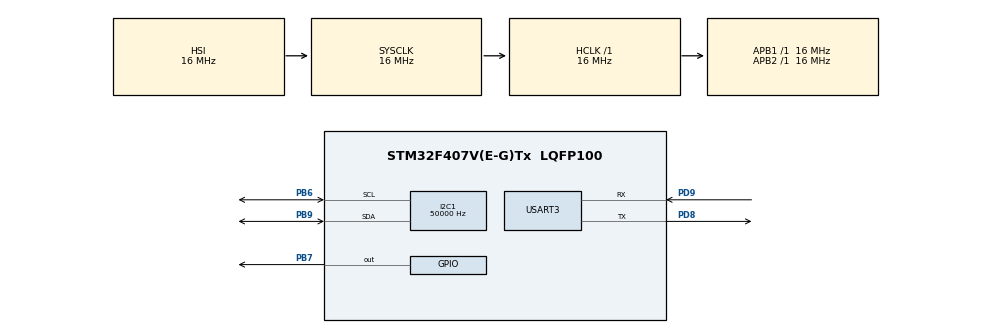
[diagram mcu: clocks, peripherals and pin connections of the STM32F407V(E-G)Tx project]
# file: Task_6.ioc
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I2C1.ClockSpeed=50000
Mcu.Family=STM32F4
Mcu.Name=STM32F407V(E-G)Tx
Mcu.Package=LQFP100
NVIC.PriorityGroup=NVIC_PRIORITYGROUP_4
NVIC.TIM3_IRQn=true\:0\:0\:false\:false\:true\:true\:true
NVIC.USART3_IRQn=true\:0\:0\:false\:false\:true\:true\:true
PB6.Mode=I2C
PB6.Signal=I2C1_SCL
PB7.Signal=GPIO_Output
PB9.Mode=I2C
PB9.Signal=I2C1_SDA
PD8.Mode=Asynchronous
PD8.Signal=USART3_TX
PD9.Mode=Asynchronous
PD9.Signal=USART3_RX
ProjectManager.HeapSize=0x200
ProjectManager.StackSize=0x400
ProjectManager.TargetToolchain=STM32CubeIDE
RCC.AHBFreq_Value=16000000
RCC.APB1Freq_Value=16000000
RCC.APB2Freq_Value=16000000
RCC.CortexFreq_Value=16000000
RCC.HSE_VALUE=25000000
RCC.HSI_VALUE=16000000
RCC.LSE_VALUE=32768
RCC.SYSCLKFreq_VALUE=16000000
RCC.VCOOutputFreq_Value=192000000
TIM3.AutoReloadPreload=TIM_AUTORELOAD_PRELOAD_ENABLE
TIM3.Period=200
TIM3.Prescaler=1600
USART3.VirtualMode=VM_ASYNC
VP_TIM3_VS_ClockSourceINT.Mode=Internal
board=custom

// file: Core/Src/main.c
/* USER CODE BEGIN Header */
/**
  ******************************************************************************
  * @file           : main.c
  * @brief          : Main program body
  ******************************************************************************
  * @attention
  *
  * <h2><center>&copy; Copyright (c) 2021 STMicroelectronics.
  * All rights reserved.</center></h2>
  *
  * This software component is licensed by ST under BSD 3-Clause license,
  * the "License"; You may not use this file except in compliance with the
  * License. You may obtain a copy of the License at:
  *                        opensource.org/licenses/BSD-3-Clause
  *
  ******************************************************************************
  */
/* USER CODE END Header */
#include "main.h"

/* USER CODE BEGIN Includes */
#include "pca9685_pwm.h"
#include <string.h>
#include <stdio.h>
/* USER CODE END Includes */

/* USER CODE BEGIN PTD */
typedef enum
{
	DOWN,
	UP
} adjust;
/* USER CODE END PTD */

/* USER CODE BEGIN PD */
#define PCA9685_PWM_LED_ID 0x80

/* USER CODE END PD */

I2C_HandleTypeDef hi2c1;

TIM_HandleTypeDef htim3;

UART_HandleTypeDef huart3;

/* USER CODE BEGIN PV */
uint8_t ledOnTime = 0;
uint8_t ledOffTime = 0;
uint8_t ledChannel = 0;
uint8_t sleepMode = 0;
uint8_t pwmChannelsState = 0;
uint16_t pwmFrequency = 100;

char rcvBuf;

/* USER CODE END PV */

void SystemClock_Config(void);
static void MX_GPIO_Init(void);
static void MX_I2C1_Init(void);
static void MX_USART3_UART_Init(void);
static void MX_TIM3_Init(void);

/* USER CODE BEGIN PFP */
static void adjustledOffTime(adjust offTime);
static void adjustledOnTime(adjust onTime);
static void adjustPwmFrequency(adjust freq);
static void toggleAllPwmOutputs(void);
static void toggleSleepMode(void);
static void disablePwmOutput(uint8_t ledChannel);
static void receiveUartStatus(void);
static void transmitUartMessage(char terminalMessage[256]);

/* USER CODE END PFP */

/* USER CODE BEGIN 0 */
void HAL_TIM_PeriodElapsedCallback(TIM_HandleTypeDef *htim)
{
	// Pooling UART using Timer3 every 0.02 seconds
	if (htim == &htim3 )
	{

		HAL_StatusTypeDef result = HAL_UART_Receive(&huart3, (uint8_t*)&rcvBuf, 1, 10);

		if (result == HAL_OK)
		{
			switch (rcvBuf)
			{
			case '1':
				adjustledOffTime(DOWN);
				break;
			case '3':
				adjustledOffTime(UP);
				break;
			case '4':
				adjustledOnTime(DOWN);
				break;
			case '6':
				adjustledOnTime(UP);
				break;
			case '7':
				adjustPwmFrequency(DOWN);
				break;
			case '9':
				adjustPwmFrequency(UP);
				break;
			case '2':
				toggleAllPwmOutputs();
				break;
			case '5':
				toggleSleepMode();
				break;
			case '8':
				disablePwmOutput(ledChannel);
				break;
			case '+':
				ledChannel = (ledChannel < 16) ? (ledChannel + 1) : ledChannel;
				break;
			case '-':
				ledChannel =( ledChannel < 0) ? ledChannel  : (ledChannel - 1) ;
				break;
			default:
				HAL_UART_Transmit(&huart3, (uint8_t*) "Unrecognized key\r\n", 15 + 2, 10);
				break;
			}
			receiveUartStatus();
		}
	}
}

static void adjustledOffTime(adjust offTime)
{

	if(offTime == DOWN)
	{
		ledOffTime = (ledOffTime > 0) ? (ledOffTime - 1) : ledOffTime;
		ledOffTime = (ledOffTime > (100 - ledOnTime)) ? (100 - ledOnTime) : ledOffTime;

	}
	else if (offTime == UP)
	{
		ledOffTime = (ledOffTime < 100) ? (ledOffTime + 1) : ledOffTime;
		ledOffTime = (ledOffTime > (100 - ledOnTime)) ? (100 - ledOnTime) : ledOffTime;
	}

	if (pwmChannelsState == 1)
	{
		PWM_Register_All_Set(&hi2c1, PCA9685_PWM_LED_ID, ledOnTime, ledOffTime);
	}
	else
		PWM_Register_Set(&hi2c1, PCA9685_PWM_LED_ID, ledOnTime, ledOffTime, ledChannel);
}

static void adjustledOnTime(adjust onTime)
{
	if(onTime == DOWN)
	{
		ledOnTime = (ledOnTime > 0) ? (ledOnTime - 1) : ledOnTime;
		ledOnTime = (ledOnTime > (100 - ledOffTime)) ? (100 - ledOffTime) : ledOnTime;
	}
	else if (onTime == UP)
	{
		ledOnTime = (ledOnTime < 100) ? (ledOnTime + 1) : ledOnTime;
		ledOnTime = (ledOnTime > (100 - ledOffTime)) ? (100 - ledOffTime) : ledOnTime;
	}
	if (pwmChannelsState == 1)
	{
		PWM_Register_All_Set(&hi2c1, PCA9685_PWM_LED_ID, ledOnTime, ledOffTime);
	}
	else
		PWM_Register_Set(&hi2c1, PCA9685_PWM_LED_ID, ledOnTime, ledOffTime, ledChannel);
}

static void adjustPwmFrequency(adjust freq)
{

	if(freq == DOWN)
	{
		pwmFrequency = (pwmFrequency > 24) ? (pwmFrequency - 1) : pwmFrequency;
	}
	else if (freq == UP)
	{
		pwmFrequency = (pwmFrequency < 1526) ? (pwmFrequency + 1) : pwmFrequency;
	}

	PWM_Frequency_Set(&hi2c1, PCA9685_PWM_LED_ID, pwmFrequency);

}

static void toggleAllPwmOutputs(void)
{
	if(pwmChannelsState == 0)
	{
		pwmChannelsState = 1;
		PWM_Register_All_Set(&hi2c1, PCA9685_PWM_LED_ID, ledOnTime, ledOffTime);
	}
	else
	{
		pwmChannelsState = 0;
		PWM_Register_All_Off(&hi2c1, PCA9685_PWM_LED_ID);
	}

}

static void disablePwmOutput(uint8_t ledChannel)
{
	PWM_Register_Off(&hi2c1, PCA9685_PWM_LED_ID, ledChannel);
}

static void toggleSleepMode(void)
{
	sleepMode = !sleepMode;

	PWM_Sleep_State(&hi2c1, PCA9685_PWM_LED_ID, sleepMode);

}

static void receiveUartStatus(void)
{
	/** the ASCII Escape character, value 0x1B.
        the ASCII left square brace character, value 0x5B.
      	  the ASCII character for numeral 2, value 0x32.
        the ASCII character for the letter J, value 0x4A.
        Esc[2J - erase terminal display
 	*/
	static char tempStr[256];
	uint8_t  eraseScreenArr[5] ={ 0x1B, 0x5B, 0x32, 0x4A };

	HAL_UART_Transmit(&huart3, (uint8_t*) &eraseScreenArr, 4, 10);

	transmitUartMessage("Duty cycle: Decrease/Increase 1/3 | Delay time: Decrease/Increase 4/6 | PWM Frequency: Decrease/Increase 7/9 | Specific Channel: Decrease/Increase -/+ |\r\n"
			"Toggle all channels: 2 | Toggle sleep mode: 5 | Disable specific channel: 8\r\n");

	snprintf(tempStr, sizeof(tempStr), "\r\nDuty Cycle: %u %%\r\nDelay: %u %%\r\nFrequency: %u Hz\r\nAll channels: %u\r\nSleep mode: %u\r\nChannel: %u\r\n",
	(unsigned int)(ledOffTime), (unsigned int)(ledOnTime), (unsigned int)(pwmFrequency),(unsigned int)(pwmChannelsState),(unsigned int)(sleepMode),(unsigned int)(ledChannel));

	transmitUartMessage(tempStr);
}

static void transmitUartMessage(char terminalMessage[256])
{
	HAL_UART_Transmit(&huart3, (uint8_t*) terminalMessage,  strlen(terminalMessage), 10);
}

/* USER CODE END 0 */

int main(void)
{

  /* MCU Configuration--------------------------------------------------------*/

  /* Reset of all peripherals, Initializes the Flash interface and the Systick. */
  HAL_Init();

  /* Configure the system clock */
  SystemClock_Config();

  /* Initialize all configured peripherals */
  MX_GPIO_Init();
  MX_I2C1_Init();
  MX_USART3_UART_Init();
  MX_TIM3_Init();
  /* USER CODE BEGIN 2 */
  PWM_LED_Init(&hi2c1, PCA9685_PWM_LED_ID, GPIOB, GPIO_PIN_7);
  HAL_TIM_Base_Start_IT(&htim3);
  receiveUartStatus();
  /* USER CODE END 2 */

  /* Infinite loop */
  while (1)
  {

  }
}

void SystemClock_Config(void)
{
  RCC_OscInitTypeDef RCC_OscInitStruct = {0};
  RCC_ClkInitTypeDef RCC_ClkInitStruct = {0};

  /** Configure the main internal regulator output voltage
  */
  __HAL_RCC_PWR_CLK_ENABLE();
  __HAL_PWR_VOLTAGESCALING_CONFIG(PWR_REGULATOR_VOLTAGE_SCALE1);
  /** Initializes the RCC Oscillators according to the specified parameters
  * in the RCC_OscInitTypeDef structure.
  */
  RCC_OscInitStruct.OscillatorType = RCC_OSCILLATORTYPE_HSI;
  RCC_OscInitStruct.HSIState = RCC_HSI_ON;
  RCC_OscInitStruct.HSICalibrationValue = RCC_HSICALIBRATION_DEFAULT;
  RCC_OscInitStruct.PLL.PLLState = RCC_PLL_NONE;
  if (HAL_RCC_OscConfig(&RCC_OscInitStruct) != HAL_OK)
  {
    Error_Handler();
  }
  /** Initializes the CPU, AHB and APB buses clocks
  */
  RCC_ClkInitStruct.ClockType = RCC_CLOCKTYPE_HCLK|RCC_CLOCKTYPE_SYSCLK
                              |RCC_CLOCKTYPE_PCLK1|RCC_CLOCKTYPE_PCLK2;
  RCC_ClkInitStruct.SYSCLKSource = RCC_SYSCLKSOURCE_HSI;
  RCC_ClkInitStruct.AHBCLKDivider = RCC_SYSCLK_DIV1;
  RCC_ClkInitStruct.APB1CLKDivider = RCC_HCLK_DIV1;
  RCC_ClkInitStruct.APB2CLKDivider = RCC_HCLK_DIV1;

  if (HAL_RCC_ClockConfig(&RCC_ClkInitStruct, FLASH_LATENCY_0) != HAL_OK)
  {
    Error_Handler();
  }
}

static void MX_I2C1_Init(void)
{

  hi2c1.Instance = I2C1;
  hi2c1.Init.ClockSpeed = 50000;
  hi2c1.Init.DutyCycle = I2C_DUTYCYCLE_2;
  hi2c1.Init.OwnAddress1 = 0;
  hi2c1.Init.AddressingMode = I2C_ADDRESSINGMODE_7BIT;
  hi2c1.Init.DualAddressMode = I2C_DUALADDRESS_DISABLE;
  hi2c1.Init.OwnAddress2 = 0;
  hi2c1.Init.GeneralCallMode = I2C_GENERALCALL_DISABLE;
  hi2c1.Init.NoStretchMode = I2C_NOSTRETCH_DISABLE;
  if (HAL_I2C_Init(&hi2c1) != HAL_OK)
  {
    Error_Handler();
  }

}

static void MX_TIM3_Init(void)
{

  TIM_ClockConfigTypeDef sClockSourceConfig = {0};
  TIM_MasterConfigTypeDef sMasterConfig = {0};

  htim3.Instance = TIM3;
  htim3.Init.Prescaler = 1600;
  htim3.Init.CounterMode = TIM_COUNTERMODE_UP;
  htim3.Init.Period = 200;
  htim3.Init.ClockDivision = TIM_CLOCKDIVISION_DIV1;
  htim3.Init.AutoReloadPreload = TIM_AUTORELOAD_PRELOAD_ENABLE;
  if (HAL_TIM_Base_Init(&htim3) != HAL_OK)
  {
    Error_Handler();
  }
  sClockSourceConfig.ClockSource = TIM_CLOCKSOURCE_INTERNAL;
  if (HAL_TIM_ConfigClockSource(&htim3, &sClockSourceConfig) != HAL_OK)
  {
    Error_Handler();
  }
  sMasterConfig.MasterOutputTrigger = TIM_TRGO_RESET;
  sMasterConfig.MasterSlaveMode = TIM_MASTERSLAVEMODE_DISABLE;
  if (HAL_TIMEx_MasterConfigSynchronization(&htim3, &sMasterConfig) != HAL_OK)
  {
    Error_Handler();
  }

}

static void MX_USART3_UART_Init(void)
{

  huart3.Instance = USART3;
  huart3.Init.BaudRate = 115200;
  huart3.Init.WordLength = UART_WORDLENGTH_8B;
  huart3.Init.StopBits = UART_STOPBITS_1;
  huart3.Init.Parity = UART_PARITY_NONE;
  huart3.Init.Mode = UART_MODE_TX_RX;
  huart3.Init.HwFlowCtl = UART_HWCONTROL_NONE;
  huart3.Init.OverSampling = UART_OVERSAMPLING_16;
  if (HAL_UART_Init(&huart3) != HAL_OK)
  {
    Error_Handler();
  }

}

static void MX_GPIO_Init(void)
{
  GPIO_InitTypeDef GPIO_InitStruct = {0};

  /* GPIO Ports Clock Enable */
  __HAL_RCC_GPIOD_CLK_ENABLE();
  __HAL_RCC_GPIOB_CLK_ENABLE();

  /*Configure GPIO pin Output Level */
  HAL_GPIO_WritePin(GPIOB, GPIO_PIN_7, GPIO_PIN_RESET);

  /*Configure GPIO pin : PB7 */
  GPIO_InitStruct.Pin = GPIO_PIN_7;
  GPIO_InitStruct.Mode = GPIO_MODE_OUTPUT_PP;
  GPIO_InitStruct.Pull = GPIO_NOPULL;
  GPIO_InitStruct.Speed = GPIO_SPEED_FREQ_LOW;
  HAL_GPIO_Init(GPIOB, &GPIO_InitStruct);

}

void Error_Handler(void)
{
  __disable_irq();
  while (1)
  {
  }
}

/************************ (C) COPYRIGHT STMicroelectronics *****END OF FILE****/
